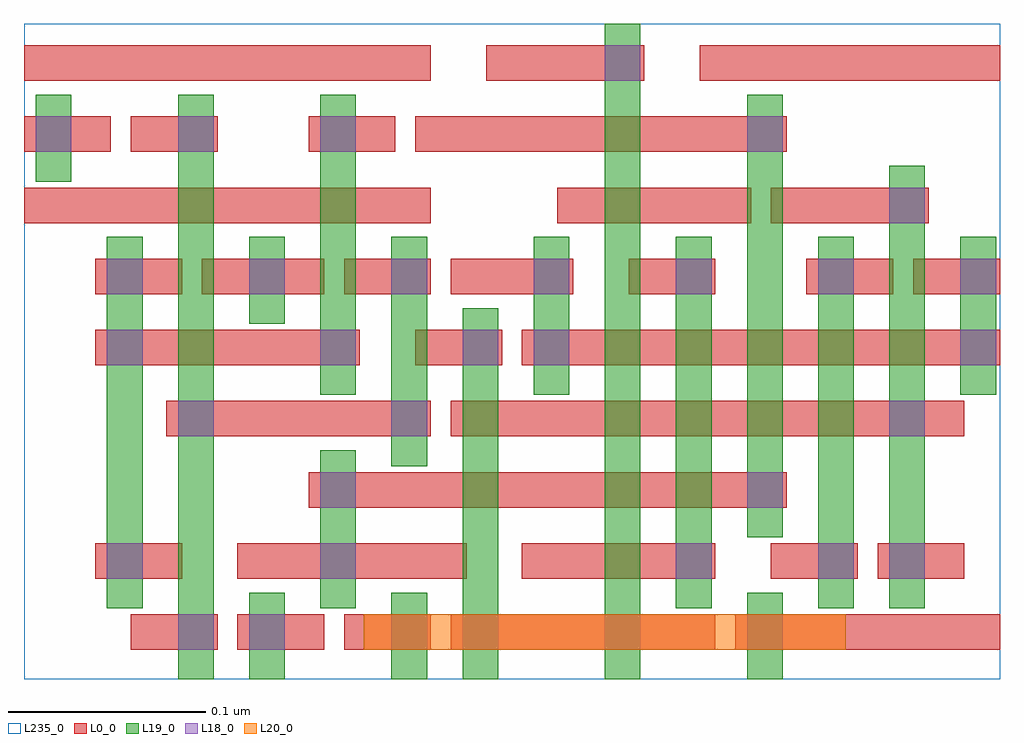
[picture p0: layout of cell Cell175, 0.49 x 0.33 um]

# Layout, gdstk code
import gdstk
lib = gdstk.Library(unit=1e-6, precision=2.5e-10)
def R(c, l, rs):  # rectangles x0, y0, x1, y1
    for r in rs: c.add(gdstk.rectangle(r[:2], r[2:], *l))
def A(c, l, x, y, w, h, nx, ny, dx, dy):  # array of equal rectangles
    R(c, l, [(x+i*dx, y+j*dy, x+i*dx+w, y+j*dy+h) for i in range(nx) for j in range(ny)])
L0_0 = (0, 0)
L18_0 = (18, 0)
L19_0 = (19, 0)
L20_0 = (20, 0)
L235_0 = (235, 0)

cell175 = lib.new_cell('Cell175')
A(cell175, L0_0, 0.058, -0.001, 0.044, 0.018, 3, 1, 0.054, 0)
R(cell175, L0_0, [(0.22,-0.001,0.354,0.017), (0.364,-0.001,0.498,0.017), (0.04,0.035,0.084,0.053), (0.112,0.035,0.228,0.053), (0.256,0.035,0.354,0.053), (0.382,0.035,0.426,0.053), (0.436,0.035,0.48,0.053), (0.148,0.071,0.39,0.089), (0.076,0.107,0.21,0.125), (0.22,0.107,0.48,0.125), (0.04,0.143,0.174,0.161), (0.202,0.143,0.246,0.161), (0.256,0.143,0.498,0.161), (0.04,0.179,0.084,0.197), (0.094,0.179,0.156,0.197), (0.166,0.179,0.21,0.197), (0.22,0.179,0.282,0.197), (0.31,0.179,0.354,0.197), (0.4,0.179,0.444,0.197), (0.454,0.179,0.498,0.197), (0.004,0.215,0.21,0.233), (0.274,0.215,0.372,0.233), (0.382,0.215,0.462,0.233), (0.004,0.251,0.048,0.269), (0.058,0.251,0.102,0.269), (0.148,0.251,0.192,0.269), (0.202,0.251,0.39,0.269), (0.004,0.287,0.21,0.305), (0.238,0.287,0.318,0.305), (0.346,0.287,0.498,0.305)])
A(cell175, L18_0, 0.226, -0.001, 0.018, 0.018, 3, 1, 0.072, 0)
A(cell175, L18_0, 0.046, 0.179, 0.018, 0.018, 7, 1, 0.072, 0)
A(cell175, L18_0, 0.01, 0.251, 0.018, 0.018, 3, 1, 0.072, 0)
R(cell175, L18_0, [(0.082,-0.001,0.1,0.017), (0.118,-0.001,0.136,0.017), (0.19,-0.001,0.208,0.017), (0.046,0.035,0.064,0.053), (0.154,0.035,0.172,0.053), (0.334,0.035,0.352,0.053), (0.406,0.035,0.424,0.053), (0.442,0.035,0.46,0.053), (0.154,0.071,0.172,0.089), (0.37,0.071,0.388,0.089), (0.082,0.107,0.1,0.125), (0.19,0.107,0.208,0.125), (0.442,0.107,0.46,0.125), (0.046,0.143,0.064,0.161), (0.154,0.143,0.172,0.161), (0.226,0.143,0.244,0.161), (0.262,0.143,0.28,0.161), (0.478,0.143,0.496,0.161), (0.442,0.215,0.46,0.233), (0.37,0.251,0.388,0.269), (0.298,0.287,0.316,0.305)])
R(cell175, L19_0, [(0.082,-0.016,0.1,0.28), (0.118,-0.016,0.136,0.028), (0.19,-0.016,0.208,0.028), (0.226,-0.016,0.244,0.172), (0.298,-0.016,0.316,0.316), (0.37,-0.016,0.388,0.028), (0.046,0.02,0.064,0.208), (0.154,0.02,0.172,0.1), (0.334,0.02,0.352,0.208), (0.406,0.02,0.424,0.208), (0.442,0.02,0.46,0.244), (0.37,0.056,0.388,0.28), (0.19,0.092,0.208,0.208), (0.154,0.128,0.172,0.28), (0.262,0.128,0.28,0.208), (0.478,0.128,0.496,0.208), (0.118,0.164,0.136,0.208), (0.01,0.236,0.028,0.28)])
R(cell175, L20_0, [(0.176,-0.001,0.42,0.017)])
R(cell175, L235_0, [(0.004,-0.016,0.498,0.316)])

lib.write_gds('Cell175.gds')
